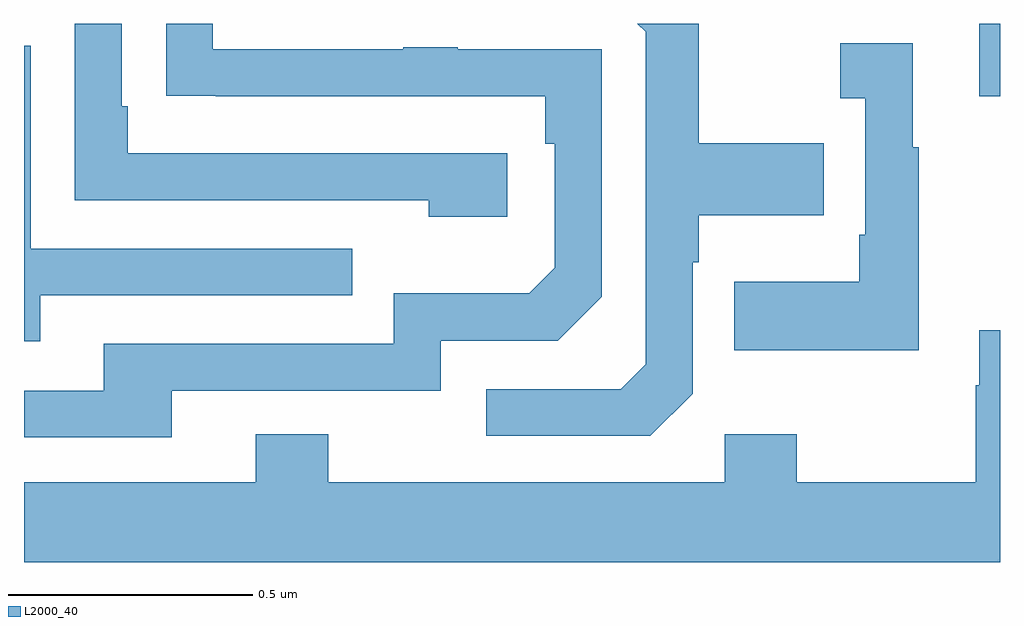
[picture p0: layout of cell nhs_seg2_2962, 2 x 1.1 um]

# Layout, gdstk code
import gdstk
lib = gdstk.Library(unit=1e-6, precision=1e-09)
def R(c, l, rs):  # rectangles x0, y0, x1, y1
    for r in rs: c.add(gdstk.rectangle(r[:2], r[2:], *l))
def P(c, l, *ps):  # polygons
    for p in ps: c.add(gdstk.Polygon(p, *l))
L2000_40 = (2000, 40)

nhs_seg2_2962 = lib.new_cell('nhs_seg2_2962')
R(nhs_seg2_2962, L2000_40, [(149.957,588.651,150,588.8)])
P(nhs_seg2_2962, L2000_40, [(148.303,588.048),(148.854,588.048),(148.854,588.15),(149.094,588.15),(149.184,588.24),(149.184,588.747),(148.889,588.747),(148.889,588.752),(148.777,588.752),(148.777,588.747),(148.387,588.747),(148.387,588.8),(148.291,588.8),(148.291,588.652),(148.393,588.652),(148.393,588.651),(149.068,588.651),(149.068,588.554),(149.088,588.554),(149.088,588.3),(149.035,588.247),(148.758,588.247),(148.758,588.144),(148.163,588.144),(148.163,588.048),(148,588.048),(148,587.952),(148.303,587.952)],
  [(149.37,588.042),(149.37,588.311),(149.383,588.311),(149.383,588.407),(149.639,588.407),(149.639,588.555),(149.383,588.555),(149.383,588.8),(149.257,588.8),(149.274,588.783),(149.274,588.102),(149.223,588.051),(148.947,588.051),(148.947,587.955),(149.283,587.955)],
  [(148.99,588.534),(148.213,588.534),(148.213,588.631),(148.2,588.631),(148.2,588.8),(148.104,588.8),(148.104,588.438),(148.829,588.438),(148.829,588.404),(148.99,588.404)],
  [(149.833,588.547),(149.821,588.547),(149.821,588.76),(149.673,588.76),(149.673,588.647),(149.724,588.647),(149.724,588.367),(149.712,588.367),(149.712,588.271),(149.455,588.271),(149.455,588.131),(149.833,588.131)],
  [(148.033,588.243),(148.673,588.243),(148.673,588.339),(148.014,588.339),(148.014,588.755),(148,588.755),(148,588.149),(148.033,588.149)],
  [(150,588.172),(149.957,588.172),(149.957,588.059),(149.95,588.059),(149.95,587.86),(149.583,587.86),(149.583,587.959),(149.436,587.959),(149.436,587.86),(148.623,587.86),(148.623,587.959),(148.475,587.959),(148.475,587.86),(148,587.86),(148,587.696),(150,587.696)])

lib.write_gds('nhs_seg2_2962.gds')
